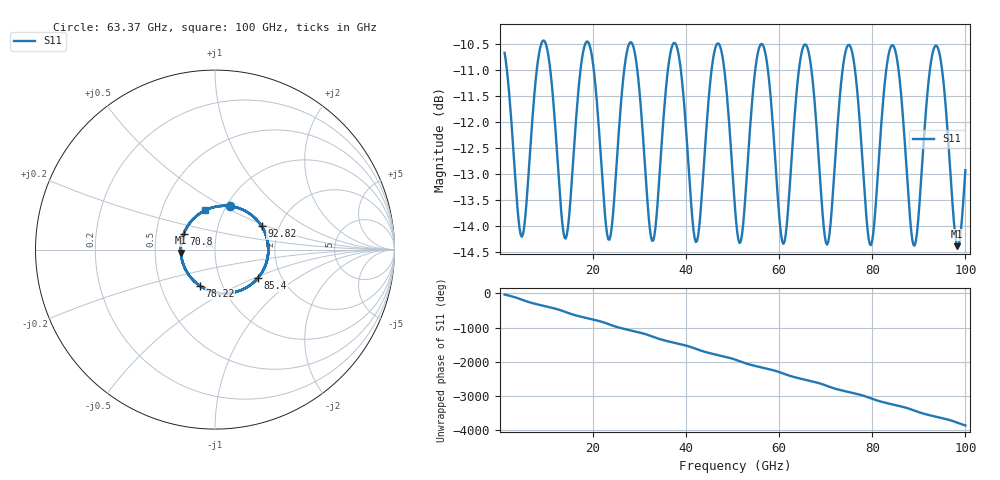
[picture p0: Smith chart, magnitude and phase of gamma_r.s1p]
!Created with skrf (http://scikit-rf.org).
# GHz S RI R 50.0
!freq ReS11 ImS11
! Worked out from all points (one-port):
!   401 points, 1 GHz to 100 GHz, reference 50 ohm
!   lowest |S11| = -14.4 dB at 98.27 GHz (marker M1), VSWR 1.47, Z = 34 - j1.21 ohm
!   |S11| at or under -10 dB: start of sweep to end of sweep
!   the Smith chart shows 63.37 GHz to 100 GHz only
!   S11 on the Smith chart (normalised r, x): 63.37 GHz: 1.03, +0.54; 70.8 GHz: 0.69, +0.13; 78.22 GHz: 0.78, -0.33; 85.4 GHz: 1.52, -0.53; 92.82 GHz: 1.62, +0.46; 100 GHz: 0.82, +0.38
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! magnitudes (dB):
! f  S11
! 1 GHz  -10.7
! 4.713 GHz  -14.2
! 9.91 GHz  -10.5
! 13.38 GHz  -13.9
! 18.32 GHz  -10.5
! 23.27 GHz  -14.2
! 25.75 GHz  -11.9
! 28.72 GHz  -10.6
! 32.93 GHz  -14.3
! 38.12 GHz  -10.6
! 42.09 GHz  -14.3
! 46.79 GHz  -10.5
! 50.5 GHz  -13.6
! 55.95 GHz  -10.5
! 60.65 GHz  -14.3
! 62.88 GHz  -12.4
! 63.37 GHz  -11.8
! 66.09 GHz  -10.6
! 70.8 GHz  -14.2
! 75.25 GHz  -10.5
! 78.22 GHz  -13.2
! 79.95 GHz  -14.3
! 85.4 GHz  -10.8
! 87.62 GHz  -13.3
! 89.36 GHz  -14.3
! 92.82 GHz  -10.7
! 98.27 GHz  -14.4
! 100 GHz  -12.9
